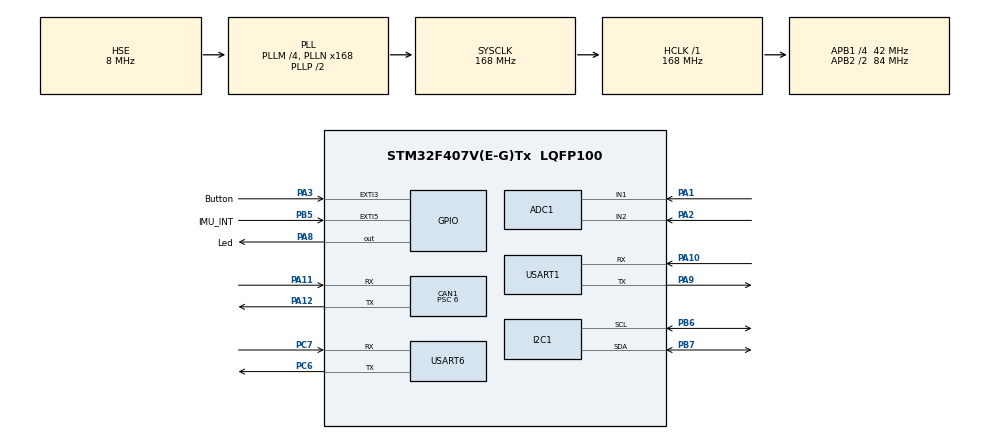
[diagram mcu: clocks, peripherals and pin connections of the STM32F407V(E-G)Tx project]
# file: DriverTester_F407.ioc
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ADC1.Channel-0\#ChannelRegularConversion=ADC_CHANNEL_1
ADC1.Channel-1\#ChannelRegularConversion=ADC_CHANNEL_2
ADC1.ContinuousConvMode=ENABLE
ADC1.DMAContinuousRequests=ENABLE
ADC1.NbrOfConversion=2
ADC1.NbrOfConversionFlag=1
ADC1.Rank-0\#ChannelRegularConversion=1
ADC1.Rank-1\#ChannelRegularConversion=2
ADC1.SamplingTime-0\#ChannelRegularConversion=ADC_SAMPLETIME_3CYCLES
ADC1.SamplingTime-1\#ChannelRegularConversion=ADC_SAMPLETIME_3CYCLES
ADC1.ScanConvMode=ENABLE
ADC1.master=1
CAN1.BS1=CAN_BS1_3TQ
CAN1.BS2=CAN_BS2_3TQ
CAN1.CalculateBaudRate=1000000
CAN1.CalculateTimeBit=1000
CAN1.CalculateTimeQuantum=142.85714285714286
CAN1.Prescaler=6
Dma.ADC1.0.Direction=DMA_PERIPH_TO_MEMORY
Dma.ADC1.0.FIFOMode=DMA_FIFOMODE_DISABLE
Dma.ADC1.0.Instance=DMA2_Stream0
Dma.ADC1.0.MemDataAlignment=DMA_MDATAALIGN_WORD
Dma.ADC1.0.MemInc=DMA_MINC_ENABLE
Dma.ADC1.0.Mode=DMA_CIRCULAR
Dma.ADC1.0.PeriphDataAlignment=DMA_PDATAALIGN_WORD
Dma.ADC1.0.PeriphInc=DMA_PINC_DISABLE
Dma.ADC1.0.Priority=DMA_PRIORITY_LOW
Dma.Request0=ADC1
FREERTOS.Tasks01=defaultTask,24,128,StartDefaultTask,Default,NULL,Dynamic,NULL,NULL
FREERTOS.configGENERATE_RUN_TIME_STATS=1
FREERTOS.configLIBRARY_MAX_SYSCALL_INTERRUPT_PRIORITY=5
FREERTOS.configTIMER_TASK_PRIORITY=25
FREERTOS.configTOTAL_HEAP_SIZE=25360
FREERTOS.configUSE_IDLE_HOOK=1
FREERTOS.configUSE_STATS_FORMATTING_FUNCTIONS=1
Mcu.Family=STM32F4
Mcu.Name=STM32F407V(E-G)Tx
Mcu.Package=LQFP100
NVIC.CAN1_RX0_IRQn=true\:5\:0\:false\:false\:true\:true\:true\:true\:true
NVIC.DMA2_Stream0_IRQn=true\:5\:0\:false\:false\:true\:true\:false\:true\:true
NVIC.EXTI3_IRQn=true\:5\:0\:false\:false\:true\:true\:true\:true\:true
NVIC.PriorityGroup=NVIC_PRIORITYGROUP_4
NVIC.TIM4_IRQn=true\:15\:0\:false\:false\:true\:false\:false\:true\:true
NVIC.TimeBase=TIM4_IRQn
NVIC.TimeBaseIP=TIM4
NVIC.USART6_IRQn=true\:5\:0\:true\:false\:true\:true\:true\:true\:true
PA1.Signal=ADCx_IN1
PA10.Mode=Asynchronous
PA10.Signal=USART1_RX
PA11.Mode=CAN_Activate
PA11.Signal=CAN1_RX
PA12.Mode=CAN_Activate
PA12.Signal=CAN1_TX
PA13.Mode=Serial_Wire
PA13.Signal=SYS_JTMS-SWDIO
PA14.Mode=Serial_Wire
PA14.Signal=SYS_JTCK-SWCLK
PA2.Signal=ADCx_IN2
PA3.GPIO_Label=Button
PA3.GPIO_ModeDefaultEXTI=GPIO_MODE_IT_RISING_FALLING
PA3.GPIO_PuPd=GPIO_PULLDOWN
PA3.Signal=GPXTI3
PA8.GPIO_Label=Led
PA8.Signal=GPIO_Output
PA9.Mode=Asynchronous
PA9.Signal=USART1_TX
PB5.GPIO_Label=IMU_INT
PB5.GPIO_PuPd=GPIO_PULLUP
PB5.Signal=GPXTI5
PB6.Mode=I2C
PB6.Signal=I2C1_SCL
PB7.Mode=I2C
PB7.Signal=I2C1_SDA
PC6.Mode=Asynchronous
PC6.Signal=USART6_TX
PC7.Mode=Asynchronous
PC7.Signal=USART6_RX
PH0-OSC_IN.Mode=HSE-External-Oscillator
PH0-OSC_IN.Signal=RCC_OSC_IN
PH1-OSC_OUT.Mode=HSE-External-Oscillator
PH1-OSC_OUT.Signal=RCC_OSC_OUT
ProjectManager.HeapSize=0x200
ProjectManager.StackSize=0x400
ProjectManager.TargetToolchain=MDK-ARM V5.32
RCC.48MHZClocksFreq_Value=84000000
RCC.AHBFreq_Value=168000000
RCC.APB1CLKDivider=RCC_HCLK_DIV4
RCC.APB1Freq_Value=42000000
RCC.APB1TimFreq_Value=84000000
RCC.APB2CLKDivider=RCC_HCLK_DIV2
RCC.APB2Freq_Value=84000000
RCC.APB2TimFreq_Value=168000000
RCC.CortexFreq_Value=168000000
RCC.HCLKFreq_Value=168000000
RCC.HSE_VALUE=8000000
RCC.HSI_VALUE=16000000
RCC.LSE_VALUE=32768
RCC.PLLM=4
RCC.PLLN=168
RCC.PLLSourceVirtual=RCC_PLLSOURCE_HSE
RCC.SYSCLKFreq_VALUE=168000000
RCC.SYSCLKSource=RCC_SYSCLKSOURCE_PLLCLK
RCC.VCOOutputFreq_Value=336000000
SH.ADCx_IN1.0=ADC1_IN1,IN1
SH.ADCx_IN2.0=ADC1_IN2,IN2
USART1.VirtualMode=VM_ASYNC
USART6.VirtualMode=VM_ASYNC
VP_FREERTOS_VS_CMSIS_V2.Mode=CMSIS_V2
VP_SYS_VS_tim4.Mode=TIM4
board=custom

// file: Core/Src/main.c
/* USER CODE BEGIN Header */
/**
  ******************************************************************************
  * @file           : main.c
  * @brief          : Main program body
  ******************************************************************************
  * @attention
  *
  * Copyright (c) 2024 STMicroelectronics.
  * All rights reserved.
  *
  * This software is licensed under terms that can be found in the LICENSE file
  * in the root directory of this software component.
  * If no LICENSE file comes with this software, it is provided AS-IS.
  *
  ******************************************************************************
  */
/* USER CODE END Header */
#include "main.h"
#include "cmsis_os.h"
#include "adc.h"
#include "can.h"
#include "dma.h"
#include "i2c.h"
#include "usart.h"
#include "gpio.h"

/* USER CODE BEGIN Includes */
#include "queue.h"
/* USER CODE END Includes */

/* USER CODE BEGIN PTD */
extern QueueHandle_t MotorAngleQueueHandle;
extern QueueHandle_t MotorSpeedQueueHandle;
/* USER CODE END PTD */

void SystemClock_Config(void);
void MX_FREERTOS_Init(void);

int main(void)
{
  /* USER CODE BEGIN 1 */
//__disable_irq();
  /* USER CODE END 1 */

  /* MCU Configuration--------------------------------------------------------*/

  /* Reset of all peripherals, Initializes the Flash interface and the Systick. */
  HAL_Init();

  /* Configure the system clock */
  SystemClock_Config();

  /* Initialize all configured peripherals */
  MX_GPIO_Init();
  MX_DMA_Init();
  MX_CAN1_Init();
  MX_USART1_UART_Init();
  MX_ADC1_Init();
  MX_I2C1_Init();
  MX_USART6_UART_Init();
  /* USER CODE BEGIN 2 */
	EnableUART6IRQ();

  /* USER CODE END 2 */

  /* Init scheduler */
  osKernelInitialize();

  /* Call init function for freertos objects (in freertos.c) */
  MX_FREERTOS_Init();

  /* Start scheduler */
  osKernelStart();

  /* We should never get here as control is now taken by the scheduler */
  /* Infinite loop */
  while (1)
  {

  }
}

void SystemClock_Config(void)
{
  RCC_OscInitTypeDef RCC_OscInitStruct = {0};
  RCC_ClkInitTypeDef RCC_ClkInitStruct = {0};

  /** Configure the main internal regulator output voltage
  */
  __HAL_RCC_PWR_CLK_ENABLE();
  __HAL_PWR_VOLTAGESCALING_CONFIG(PWR_REGULATOR_VOLTAGE_SCALE1);

  /** Initializes the RCC Oscillators according to the specified parameters
  * in the RCC_OscInitTypeDef structure.
  */
  RCC_OscInitStruct.OscillatorType = RCC_OSCILLATORTYPE_HSE;
  RCC_OscInitStruct.HSEState = RCC_HSE_ON;
  RCC_OscInitStruct.PLL.PLLState = RCC_PLL_ON;
  RCC_OscInitStruct.PLL.PLLSource = RCC_PLLSOURCE_HSE;
  RCC_OscInitStruct.PLL.PLLM = 4;
  RCC_OscInitStruct.PLL.PLLN = 168;
  RCC_OscInitStruct.PLL.PLLP = RCC_PLLP_DIV2;
  RCC_OscInitStruct.PLL.PLLQ = 4;
  if (HAL_RCC_OscConfig(&RCC_OscInitStruct) != HAL_OK)
  {
    Error_Handler();
  }

  /** Initializes the CPU, AHB and APB buses clocks
  */
  RCC_ClkInitStruct.ClockType = RCC_CLOCKTYPE_HCLK|RCC_CLOCKTYPE_SYSCLK
                              |RCC_CLOCKTYPE_PCLK1|RCC_CLOCKTYPE_PCLK2;
  RCC_ClkInitStruct.SYSCLKSource = RCC_SYSCLKSOURCE_PLLCLK;
  RCC_ClkInitStruct.AHBCLKDivider = RCC_SYSCLK_DIV1;
  RCC_ClkInitStruct.APB1CLKDivider = RCC_HCLK_DIV4;
  RCC_ClkInitStruct.APB2CLKDivider = RCC_HCLK_DIV2;

  if (HAL_RCC_ClockConfig(&RCC_ClkInitStruct, FLASH_LATENCY_5) != HAL_OK)
  {
    Error_Handler();
  }
}

void HAL_TIM_PeriodElapsedCallback(TIM_HandleTypeDef *htim)
{
  if (htim->Instance == TIM4) {
    HAL_IncTick();
  }
}

void Error_Handler(void)
{
  __disable_irq();
  while (1)
  {
  }
}

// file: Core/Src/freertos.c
/* USER CODE BEGIN Header */
/**
  ******************************************************************************
  * File Name          : freertos.c
  * Description        : Code for freertos applications
  ******************************************************************************
  * @attention
  *
  * Copyright (c) 2024 STMicroelectronics.
  * All rights reserved.
  *
  * This software is licensed under terms that can be found in the LICENSE file
  * in the root directory of this software component.
  * If no LICENSE file comes with this software, it is provided AS-IS.
  *
  ******************************************************************************
  */
/* USER CODE END Header */

#include "FreeRTOS.h"
#include "task.h"
#include "main.h"
#include "cmsis_os.h"

/* USER CODE BEGIN Includes */
#include <stdio.h>
#include "driver_motorComm.h"
#include "driver_led.h"
#include "driver_joystick.h"
#include "driver_oled.h"
#include "UI.h"
#include "page.h"
#include "joystick.h"
#include "Motor.h"
#include "mqttApp.h"
/** User FreeRTOS  **/
#include "queue.h"
#include "event_groups.h"               // ARM.FreeRTOS::RTOS:Event Groups
#include "semphr.h"                     // ARM.FreeRTOS::RTOS:Core
/* USER CODE END Includes */

/* USER CODE BEGIN Variables */
TaskHandle_t MotorPidTaskHandle;

//QueueHandle_t MotorInfQueueHandle;

QueueHandle_t TargetAngleQueueHandle;
QueueHandle_t AngleDiffQueueHandle;

QueueHandle_t rawSpeedHandle;
QueueHandle_t rawAngleHandle;
QueueHandle_t realSpeedHandle;
QueueHandle_t realAngleHandle;

//QueueHandle_t MotorRawQueueHandle;

//QueueHandle_t ButtonQueueHandle;

SemaphoreHandle_t MotorPidSemaphore;
SemaphoreHandle_t UIActionSemaphore;//电机动作交互的事件使能信号量

EventGroupHandle_t UIResponseEvent;//摇杆事件对应的event（上下左右按下）
EventGroupHandle_t MqttNotifyEvent;

static signed char pcWriteBuffer[200];
/* USER CODE END Variables */
/* Definitions for defaultTask */
osThreadId_t defaultTaskHandle;
const osThreadAttr_t defaultTask_attributes = {
  .name = "defaultTask",
  .stack_size = 128 * 4,
  .priority = (osPriority_t) osPriorityNormal,
};

void StartDefaultTask(void *argument);

void MX_FREERTOS_Init(void); /* (MISRA C 2004 rule 8.1) */

/* Hook prototypes */
void configureTimerForRunTimeStats(void);
unsigned long getRunTimeCounterValue(void);
void vApplicationIdleHook(void);

/* USER CODE BEGIN 1 */
/* Functions needed when configGENERATE_RUN_TIME_STATS is on */
__weak void configureTimerForRunTimeStats(void)
{

}

__weak unsigned long getRunTimeCounterValue(void)
{
return 0;
}
/* USER CODE END 1 */

/* USER CODE BEGIN 2 */
void vApplicationIdleHook( void )
{
   /* vApplicationIdleHook() will only be called if configUSE_IDLE_HOOK is set
   to 1 in FreeRTOSConfig.h. It will be called on each iteration of the idle
   task. It is essential that code added to this hook function never attempts
   to block in any way (for example, call xQueueReceive() with a block time
   specified, or call vTaskDelay()). If the application makes use of the
   vTaskDelete() API function (as this demo application does) then it is also
   important that vApplicationIdleHook() is permitted to return to its calling
   function, because it is the responsibility of the idle task to clean up
   memory allocated by the kernel to any task that has since been deleted. */

#if 0
	int i;
	//vTaskList(pcWriteBuffer);
	vTaskGetRunTimeStats(pcWriteBuffer);
	for (i = 0; i < 16; i++)
		printf("-");
	printf("\n\r");
	printf("%s\n\r", pcWriteBuffer);
#endif

#if 0
	printf("%d\n\r", xPortGetFreeHeapSize());

#endif
}
/* USER CODE END 2 */

void MX_FREERTOS_Init(void) {
  /* USER CODE BEGIN Init */
	OLED_Init();//oled初始化
	JoyStickInit();//摇杆初始化
	MotorCommInit();//电机通讯初始化
	printf("Everything is Inited！\r\n");

  /* USER CODE END Init */

  /* USER CODE BEGIN RTOS_SEMAPHORES */
  /* add semaphores, ... */
	MotorPidSemaphore = xSemaphoreCreateBinary();
	UIActionSemaphore = xSemaphoreCreateBinary();
  /* USER CODE END RTOS_SEMAPHORES */

  /* USER CODE BEGIN RTOS_QUEUES */
  /* add queues, ... */

	rawSpeedHandle = xQueueCreate(1, sizeof(uint32_t));//原始电机速度
	rawAngleHandle = xQueueCreate(1, sizeof(uint32_t));//原始电机角度
	realSpeedHandle = xQueueCreate(1, sizeof(uint32_t));//真实电机速度
	realAngleHandle = xQueueCreate(1, sizeof(uint32_t));//真实电机角度
	TargetAngleQueueHandle = xQueueCreate(1, sizeof(float));//UI页面想要设置angle的目标值mailbox
	AngleDiffQueueHandle = xQueueCreate(1, sizeof(float));//用来消除刚进入子页面时的angle差异（消除进入子页面时的电机快速转动）

	//ButtonQueueHandle = xQueueCreate(1, sizeof(int));
  /* USER CODE END RTOS_QUEUES */

  /* Create the thread(s) */
  /* creation of defaultTask */
  defaultTaskHandle = osThreadNew(StartDefaultTask, NULL, &defaultTask_attributes);

  /* USER CODE BEGIN RTOS_THREADS */
  /* add threads, ... */

  xTaskCreate(MotorPid_Task, "MotorPidTask", 256, NULL, osPriorityNormal+3, &MotorPidTaskHandle);
  xTaskCreate(CalMotorData_Task, "CalMotorData_Task", 128, NULL, osPriorityNormal+3, NULL);
  xTaskCreate(UI_Task, "UITask", 256, NULL, osPriorityNormal+2, NULL);
  xTaskCreate(UIAction_Task, "UIAction_Task", 256, NULL, osPriorityNormal+1, NULL);
  xTaskCreate(Joystick_Task, "JoystickTask", 128, NULL, osPriorityNormal+1, NULL);
  xTaskCreate(MqttTask, "MqttTask", 1024, NULL, osPriorityNormal+1, NULL);
  //xTaskCreate(AnglePrint_Task, "AnglePrintTask", 128, NULL, osPriorityNormal+1, NULL);
  //xTaskCreate(ButtonTest_Task, "ButtonTest_Task", 128, NULL, osPriorityNormal, NULL);

  /*test_thread*/
  //xTaskCreate(ButtonTest_Task, "test", 128, NULL, osPriorityNormal+3, NULL);

  /* USER CODE END RTOS_THREADS */

  /* USER CODE BEGIN RTOS_EVENTS */
  /* add events, ... */

  //UI换页响应事件组使用低五位：0位：右；1位：左，2位：下，3位：上，4位：按钮
  UIResponseEvent = xEventGroupCreate();

  //Mqtt事件使用低3位，分别对应三个lightdemo topic：0位：switch，1位：multi，2位：cont
  MqttNotifyEvent = xEventGroupCreate();
  /* USER CODE END RTOS_EVENTS */

}

void StartDefaultTask(void *argument)
{
  /* USER CODE BEGIN StartDefaultTask */

  /* Infinite loop */
  for(;;)
  {
	vTaskDelay(1);
  }
  /* USER CODE END StartDefaultTask */
}
